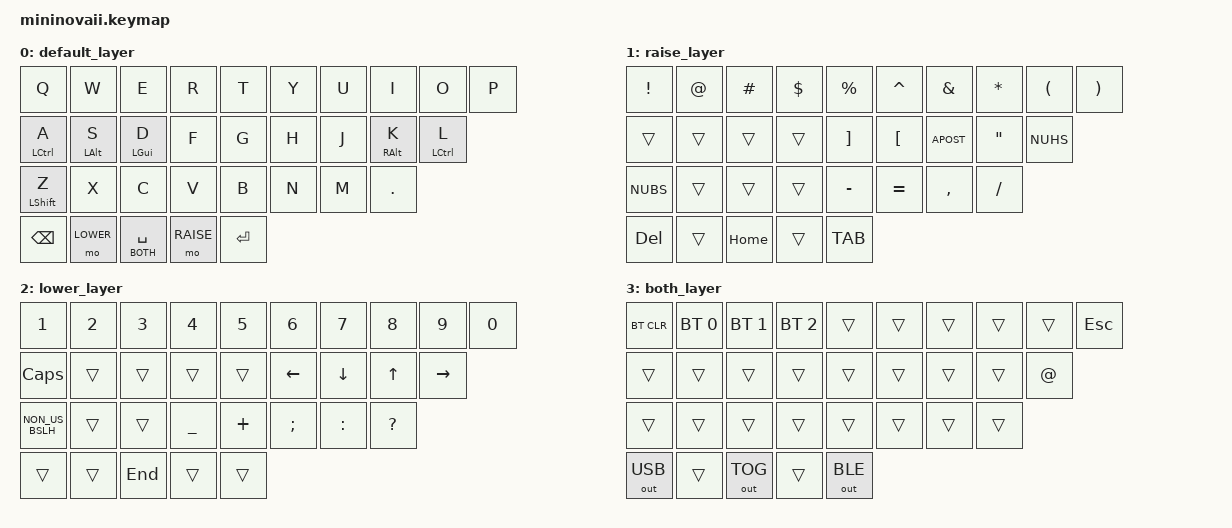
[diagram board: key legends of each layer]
/*
 * Copyright (c) 2021 The ZMK Contributors
 *
 * SPDX-License-Identifier: MIT
 */

#include <behaviors.dtsi>
#include <dt-bindings/zmk/keys.h>
#include <dt-bindings/zmk/bt.h>
#include <dt-bindings/zmk/outputs.h>

#define DEFAULT  0
#define RAISE    1
#define LOWER    2
#define BOTH     3

// -----------------------------------
// | TAB:TAB |    |    |    |    |   -:-  =:=  <:<   |   (< = bksp)
// | ESC:ESC |    |    |    |    |    |   #:#   |
// |    |    |    |    |    |    |    |    |
//           |    |    |         |    |    |

/ {
    combos {
        compatible = "zmk,combos";

        combo_tab {
            timeout-ms = <50>;
            key-positions = <0 1>;
            bindings = <&kp TAB>;
        };

        combo_esc {
            timeout-ms = <50>;
            key-positions = <10 11>;
            bindings = <&kp ESC>;
        };

        combo_dash {
            timeout-ms = <50>;
            key-positions = <6 7>;
            bindings = <&kp MINUS>;
        };

        combo_eq {
            timeout-ms = <50>;
            key-positions = <7 8>;
            bindings = <&kp EQUAL>;
        };

        combo_bksp {
            timeout-ms = <50>;
            key-positions = <8 9>;
            bindings = <&kp BSPC>;
        };

        combo_hash {
            timeout-ms = <50>;
            key-positions = <17 18>;
            bindings = <&kp NON_US_HASH>;
        };

    };
};

/ {
    keymap {
        compatible = "zmk,keymap";

        default_layer {
            bindings = <
    &kp Q        &kp W       &kp E      &kp R           &kp T      &kp Y     &kp U   &kp I     &kp O     &kp P
    &mt LCTRL A    &mt LALT S       &mt LGUI D      &kp F           &kp G      &kp H     &kp J   &mt RALT K     &mt LCTRL L
    &mt LSHIFT Z      &kp X       &kp C      &kp V           &kp B      &kp N     &kp M   &kp DOT
                       &kp BSPC &mo LOWER   &ht_hp BOTH SPACE  &mo RAISE &kp ENTER
            >;
        };

        raise_layer {
            bindings = <
    &kp EXCL    &kp AT    &kp POUND     &kp DLLR     &kp PRCNT     &kp CARET  &kp AMPS    &kp ASTRK    &kp LPAR    &kp RPAR
    &trans    &trans    &trans     &trans     &kp RBKT     &kp LBKT  &kp APOST   &kp DQT    &kp NUHS
    &kp NUBS     &trans    &trans     &trans  &kp MINUS  &kp EQUAL  &kp COMMA    &kp FSLH
                        &kp DEL  &trans  &kp HOME   &trans   &TAB
            >;
        };

        lower_layer {
            bindings = <
    &kp N1          &kp N2    &kp N3   &kp N4     &kp N5     &kp N6    &kp N7    &kp N8    &kp N9    &kp N0
    &kp CAPS        &trans    &trans   &trans     &trans     &kp LEFT  &kp DOWN  &kp UP    &kp RIGHT
    &kp NON_US_BSLH &trans    &trans   &kp UNDER  &kp PLUS  &kp SEMI   &kp COLON    &kp QMARK
    &trans       &trans  &kp END  &trans   &trans
            >;
        };

        both_layer {
            bindings = <
    &bt BT_CLR   &bt BT_SEL 0 &bt BT_SEL 1 &bt BT_SEL 2 &trans  &trans  &trans  &trans &trans &kp ESC
    &trans       &trans       &trans       &trans       &trans  &trans  &trans  &trans &kp AT
    &trans       &trans       &trans       &trans       &trans  &trans  &trans  &trans
    &out OUT_USB &trans       &out OUT_TOG &trans       &out OUT_BLE
            >;
        };

    };
};
